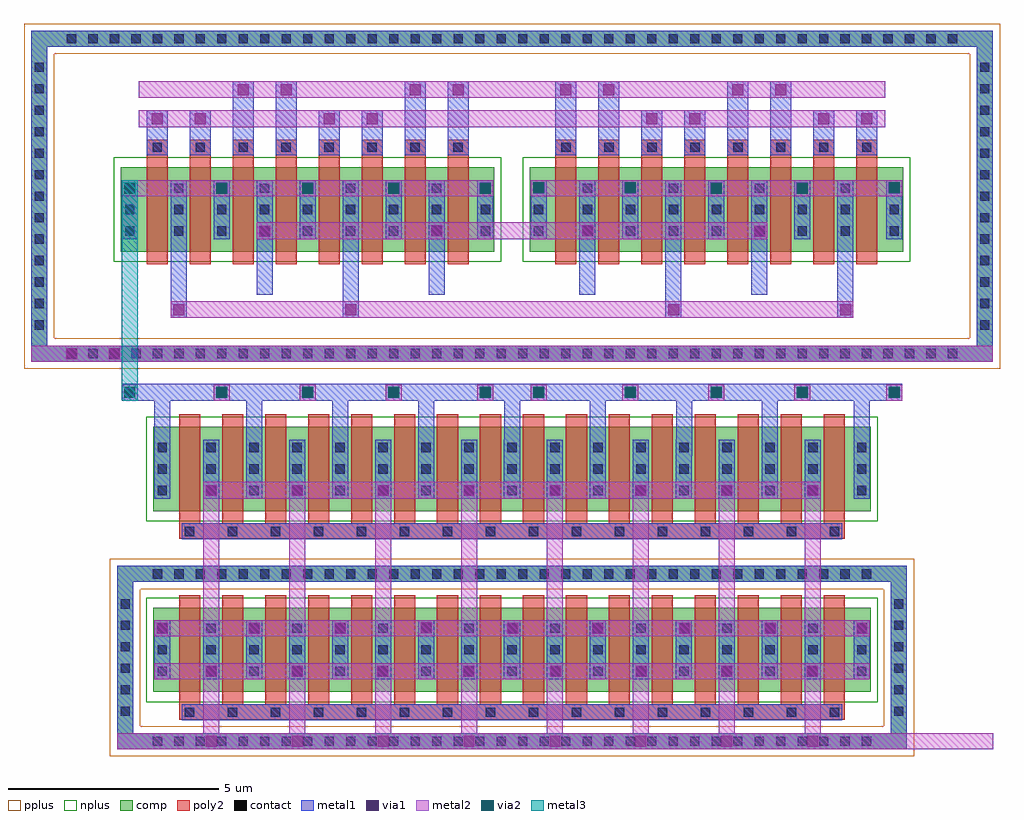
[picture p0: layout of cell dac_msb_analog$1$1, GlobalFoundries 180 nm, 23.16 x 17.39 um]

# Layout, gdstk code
from math import pi, radians
import gdstk
lib = gdstk.Library(unit=1e-6, precision=5e-09)
def R(c, l, rs):  # rectangles x0, y0, x1, y1
    for r in rs: c.add(gdstk.rectangle(r[:2], r[2:], *l))
def A(c, l, x, y, w, h, nx, ny, dx, dy):  # array of equal rectangles
    R(c, l, [(x+i*dx, y+j*dy, x+i*dx+w, y+j*dy+h) for i in range(nx) for j in range(ny)])
def P(c, l, *ps):  # polygons
    for p in ps: c.add(gdstk.Polygon(p, *l))
comp = (22, 0)
poly2 = (30, 0)
pplus = (31, 0)
nplus = (32, 0)
contact = (33, 0)
metal1 = (34, 0)
via1 = (35, 0)
metal2 = (36, 0)
via2 = (38, 0)
metal3 = (42, 0)

nfet_3_1 = lib.new_cell('nfet$3$1')
R(nfet_3_1, comp, [(-0.42,0,0,2), (0,0,16.18,2), (16.18,0,16.6,2)])
A(nfet_3_1, poly2, 0.19, -0.66, 0.5, 0.36, 16, 1, 1.02, 0)
A(nfet_3_1, poly2, 0.19, -0.3, 0.5, 2.6, 16, 1, 1.02, 0)
R(nfet_3_1, nplus, [(-0.59,-0.24,16.77,2.24)])
A(nfet_3_1, contact, 0.33, -0.59, 0.22, 0.22, 16, 1, 1.02, 0)
A(nfet_3_1, contact, -0.32, 0.38, 0.22, 0.22, 1, 3, 0, 0.51)
A(nfet_3_1, contact, 0.84, 0.38, 0.22, 0.22, 15, 3, 1.02, 0.51)
A(nfet_3_1, contact, 16.28, 0.38, 0.22, 0.22, 1, 3, 0, 0.51)
A(nfet_3_1, metal1, 0.25, -0.67, 0.38, 0.38, 16, 1, 1.02, 0)
A(nfet_3_1, metal1, 0.76, 0.3, 0.38, 1.4, 15, 1, 1.02, 0)
R(nfet_3_1, metal1, [(-0.4,0.3,-0.02,1.7), (16.2,0.3,16.58,1.7)])

guard_ring_1_1 = lib.new_cell('guard_ring$1$1')
P(guard_ring_1_1, comp, [(-11.41,-3.925),(-11.41,-3.545),(11.03,-3.545),(11.03,3.545),(-11.03,3.545),(-11.03,-3.545),(-11.41,-3.545),(-11.41,3.925),(11.41,3.925),(11.41,-3.925)])
P(guard_ring_1_1, pplus, [(-11.58,-4.095),(-11.58,-3.375),(10.86,-3.375),(10.86,3.375),(-10.86,3.375),(-10.86,-3.375),(-11.58,-3.375),(-11.58,4.095),(11.58,4.095),(11.58,-4.095)])
A(guard_ring_1_1, contact, -10.565, -3.845, 0.22, 0.22, 42, 2, 0.51, 7.47)
A(guard_ring_1_1, contact, -11.33, -3.17, 0.22, 0.22, 1, 13, 0, 0.51)
A(guard_ring_1_1, contact, 11.11, -3.17, 0.22, 0.22, 1, 13, 0, 0.51)
P(guard_ring_1_1, metal1, [(-11.41,-3.925),(-11.41,-3.545),(11.03,-3.545),(11.03,3.545),(-11.03,3.545),(-11.03,-3.545),(-11.41,-3.545),(-11.41,3.925),(11.41,3.925),(11.41,-3.925)])

nfet_2_1_1 = lib.new_cell('nfet$2$1$1')
R(nfet_2_1_1, comp, [(-0.42,0,0,2), (0,0,16.18,2), (16.18,0,16.6,2)])
P(nfet_2_1_1, comp, [(-1.28,-1.36),(-1.28,-0.98),(17.08,-0.98),(17.08,2.61),(-0.9,2.61),(-0.9,-0.98),(-1.28,-0.98),(-1.28,2.99),(17.46,2.99),(17.46,-1.36)])
A(nfet_2_1_1, poly2, 0.19, -0.66, 0.5, 0.36, 16, 1, 1.02, 0)
A(nfet_2_1_1, poly2, 0.19, -0.3, 0.5, 2.6, 16, 1, 1.02, 0)
P(nfet_2_1_1, pplus, [(-1.45,-1.53),(-1.45,-0.81),(16.91,-0.81),(16.91,2.44),(-0.73,2.44),(-0.73,-0.81),(-1.45,-0.81),(-1.45,3.16),(17.63,3.16),(17.63,-1.53)])
R(nfet_2_1_1, nplus, [(-0.59,-0.24,16.77,2.24)])
A(nfet_2_1_1, contact, -0.435, -1.28, 0.22, 0.22, 34, 2, 0.51, 3.97)
A(nfet_2_1_1, contact, 0.33, -0.59, 0.22, 0.22, 16, 1, 1.02, 0)
A(nfet_2_1_1, contact, -1.2, -0.57, 0.22, 0.22, 1, 6, 0, 0.51)
A(nfet_2_1_1, contact, 17.16, -0.57, 0.22, 0.22, 1, 6, 0, 0.51)
A(nfet_2_1_1, contact, -0.32, 0.38, 0.22, 0.22, 1, 3, 0, 0.51)
A(nfet_2_1_1, contact, 0.84, 0.38, 0.22, 0.22, 15, 3, 1.02, 0.51)
A(nfet_2_1_1, contact, 16.28, 0.38, 0.22, 0.22, 1, 3, 0, 0.51)
A(nfet_2_1_1, metal1, 0.25, -0.67, 0.38, 0.38, 16, 1, 1.02, 0)
A(nfet_2_1_1, metal1, 0.76, 0.3, 0.38, 1.4, 15, 1, 1.02, 0)
R(nfet_2_1_1, metal1, [(-0.4,0.3,-0.02,1.7), (16.2,0.3,16.58,1.7)])
P(nfet_2_1_1, metal1, [(-1.28,-1.36),(-1.28,-0.98),(17.08,-0.98),(17.08,2.61),(-0.9,2.61),(-0.9,-0.98),(-1.28,-0.98),(-1.28,2.99),(17.46,2.99),(17.46,-1.36)])

nfet_1_1_1 = lib.new_cell('nfet$1$1$1')
R(nfet_1_1_1, comp, [(-0.42,0,0,2), (0,0,8.02,2), (8.02,0,8.44,2)])
A(nfet_1_1_1, poly2, 0.19, -0.3, 0.5, 2.6, 8, 1, 1.02, 0)
A(nfet_1_1_1, poly2, 0.19, 2.3, 0.5, 0.36, 8, 1, 1.02, 0)
R(nfet_1_1_1, nplus, [(-0.59,-0.24,8.61,2.24)])
A(nfet_1_1_1, contact, -0.32, 0.38, 0.22, 0.22, 1, 3, 0, 0.51)
A(nfet_1_1_1, contact, 0.84, 0.38, 0.22, 0.22, 7, 3, 1.02, 0.51)
A(nfet_1_1_1, contact, 8.12, 0.38, 0.22, 0.22, 1, 3, 0, 0.51)
A(nfet_1_1_1, contact, 0.33, 2.37, 0.22, 0.22, 8, 1, 1.02, 0)
A(nfet_1_1_1, metal1, 0.76, 0.3, 0.38, 1.4, 7, 1, 1.02, 0)
A(nfet_1_1_1, metal1, 0.25, 2.29, 0.38, 0.38, 8, 1, 1.02, 0)
R(nfet_1_1_1, metal1, [(-0.4,0.3,-0.02,1.7), (8.04,0.3,8.42,1.7), (0.19,2.29,0.69,3.36), (1.21,2.29,1.71,3.36), (2.23,2.29,2.73,4.05), (3.25,2.29,3.75,4.05), (4.27,2.29,4.77,3.36), (5.29,2.29,5.79,3.36), (6.31,2.29,6.81,4.05), (7.33,2.29,7.83,4.05)])
R(nfet_1_1_1, via1, [(0.31,3.03,0.57,3.29), (1.33,3.03,1.59,3.29), (4.39,3.03,4.65,3.29), (5.41,3.03,5.67,3.29), (2.35,3.72,2.61,3.98), (3.37,3.72,3.63,3.98), (6.43,3.72,6.69,3.98), (7.45,3.72,7.71,3.98)])
R(nfet_1_1_1, metal2, [(0,2.96,8.86,3.36), (0,3.65,8.86,4.05)])

dac_msb_analog_1_1 = lib.new_cell('dac_msb_analog$1$1')
R(dac_msb_analog_1_1, poly2, [(0.96,-11.105,16.76,-10.735), (0.96,-6.815,16.76,-6.445)])
R(dac_msb_analog_1_1, metal1, [(1.02,-11.115,16.7,-10.735), (1.02,-6.825,16.7,-6.445), (0.37,-4.835,0.75,-3.135), (2.55,-4.835,2.93,-3.135), (4.595,-4.835,4.975,-3.135), (6.63,-4.835,7.01,-3.135), (8.675,-4.835,9.055,-3.135), (10.71,-4.835,11.09,-3.135), (12.755,-4.835,13.135,-3.135), (14.79,-4.835,15.17,-3.135), (16.97,-4.835,17.35,-3.135), (-0.4,-3.535,18.12,-3.135), (0.76,-1.57,1.14,1.13), (4.84,-1.57,5.22,1.13), (12.5,-1.57,12.88,1.13), (16.58,-1.57,16.96,1.13), (2.8,-1.02,3.18,0.68), (6.88,-1.02,7.26,0.68), (10.46,-1.02,10.84,0.68), (14.54,-1.02,14.92,0.68)])
A(dac_msb_analog_1_1, via1, 1.59, -11.74, 0.26, 0.26, 8, 2, 2.04, 5.945)
A(dac_msb_analog_1_1, via1, 11.8, -10.085, 0.26, 0.26, 3, 1, 2.03, 0)
A(dac_msb_analog_1_1, via1, 1.84, -3.465, 0.26, 0.26, 3, 2, 2.04, 4.845)
A(dac_msb_analog_1_1, via1, 11.54, -3.465, 0.26, 0.26, 3, 1, 2.04, 0)
R(dac_msb_analog_1_1, via1, [(1.59,-10.085,1.85,-9.825), (3.63,-10.085,3.89,-9.825), (5.66,-10.085,5.92,-9.825), (7.705,-10.085,7.965,-9.825), (9.765,-10.085,10.025,-9.825), (0.43,-9.065,0.69,-8.805), (2.61,-9.065,2.87,-8.805), (10.77,-9.065,11.03,-8.805), (12.825,-9.065,13.085,-8.805), (14.86,-9.065,15.12,-8.805), (17.035,-9.065,17.295,-8.805), (4.655,-9.06,4.915,-8.8), (8.745,-9.06,9.005,-8.8), (6.695,-9.055,6.955,-8.795), (-0.34,-3.465,-0.08,-3.205), (5.92,-3.465,6.18,-3.205), (8.1,-3.465,8.36,-3.205), (8.1,-3.465,8.36,-3.205), (9.36,-3.465,9.62,-3.205), (15.62,-3.465,15.88,-3.205), (17.8,-3.465,18.06,-3.205), (17.8,-3.465,18.06,-3.205), (-1.72,-2.55,-1.46,-2.29), (-0.705,-2.55,-0.445,-2.29), (0.82,-1.505,1.08,-1.245), (4.9,-1.505,5.16,-1.245), (12.565,-1.505,12.825,-1.245), (16.645,-1.505,16.905,-1.245), (2.865,0.355,3.125,0.615), (14.61,0.36,14.87,0.62), (10.53,0.365,10.79,0.625), (6.945,0.37,7.205,0.63), (8.1,1.375,8.36,1.635), (13.58,1.375,13.84,1.635), (-0.34,1.38,-0.08,1.64), (15.62,1.38,15.88,1.64), (9.36,1.385,9.62,1.645), (17.8,1.385,18.06,1.645), (11.54,1.39,11.8,1.65)])
A(dac_msb_analog_1_1, metal2, 1.53, -11.79, 0.38, 2.025, 8, 1, 2.04, 0)
A(dac_msb_analog_1_1, metal2, 3.57, -8.755, 0.38, 3.3, 7, 1, 2.04, 0)
A(dac_msb_analog_1_1, metal2, 1.78, -3.535, 0.38, 0.38, 3, 1, 2.04, 0)
A(dac_msb_analog_1_1, metal2, 11.48, -3.535, 0.38, 0.38, 3, 1, 2.04, 0)
R(dac_msb_analog_1_1, metal2, [(-0.51,-11.805,20.275,-11.425), (0.37,-10.145,17.35,-9.765), (0.37,-9.125,17.35,-8.745), (1.53,-8.755,1.91,-5.455), (3.57,-8.755,3.95,-5.455), (1.53,-5.855,16.19,-5.455), (-0.4,-3.535,-0.02,-3.155), (5.86,-3.535,6.24,-3.155), (8.04,-3.535,8.42,-3.155), (8.04,-3.535,8.42,-3.155), (9.3,-3.535,9.68,-3.155), (15.56,-3.535,15.94,-3.155), (17.74,-3.535,18.12,-3.155), (17.74,-3.535,18.12,-3.155), (-2.55,-2.605,20.27,-2.225), (0.76,-1.57,16.96,-1.17), (2.8,0.3,14.92,0.7), (-0.4,1.32,8.42,1.7), (9.3,1.32,18.12,1.7)])
A(dac_msb_analog_1_1, via2, 1.84, -3.465, 0.26, 0.26, 3, 2, 2.04, 4.845)
A(dac_msb_analog_1_1, via2, 11.54, -3.465, 0.26, 0.26, 3, 1, 2.04, 0)
R(dac_msb_analog_1_1, via2, [(-0.34,-3.465,-0.08,-3.205), (5.92,-3.465,6.18,-3.205), (8.1,-3.465,8.36,-3.205), (8.1,-3.465,8.36,-3.205), (9.36,-3.465,9.62,-3.205), (15.62,-3.465,15.88,-3.205), (17.8,-3.465,18.06,-3.205), (17.8,-3.465,18.06,-3.205), (8.1,1.375,8.36,1.635), (13.58,1.375,13.84,1.635), (-0.34,1.38,-0.08,1.64), (15.62,1.38,15.88,1.64), (9.36,1.385,9.62,1.645), (17.8,1.385,18.06,1.645), (11.54,1.39,11.8,1.65)])
R(dac_msb_analog_1_1, metal3, [(-0.4,-3.53,-0.02,1.7)])
dac_msb_analog_1_1.add(gdstk.Reference(nfet_3_1, (0.77,-6.155)))
dac_msb_analog_1_1.add(gdstk.Reference(guard_ring_1_1, (8.86,1.32)))
dac_msb_analog_1_1.add(gdstk.Reference(nfet_2_1_1, (0.77,-10.445)))
dac_msb_analog_1_1.add(gdstk.Reference(nfet_1_1_1, (0,0)))
dac_msb_analog_1_1.add(gdstk.Reference(nfet_1_1_1, (17.72,0), rotation=pi, x_reflection=True))

lib.write_gds('dac_msb_analog_1_1.gds')
